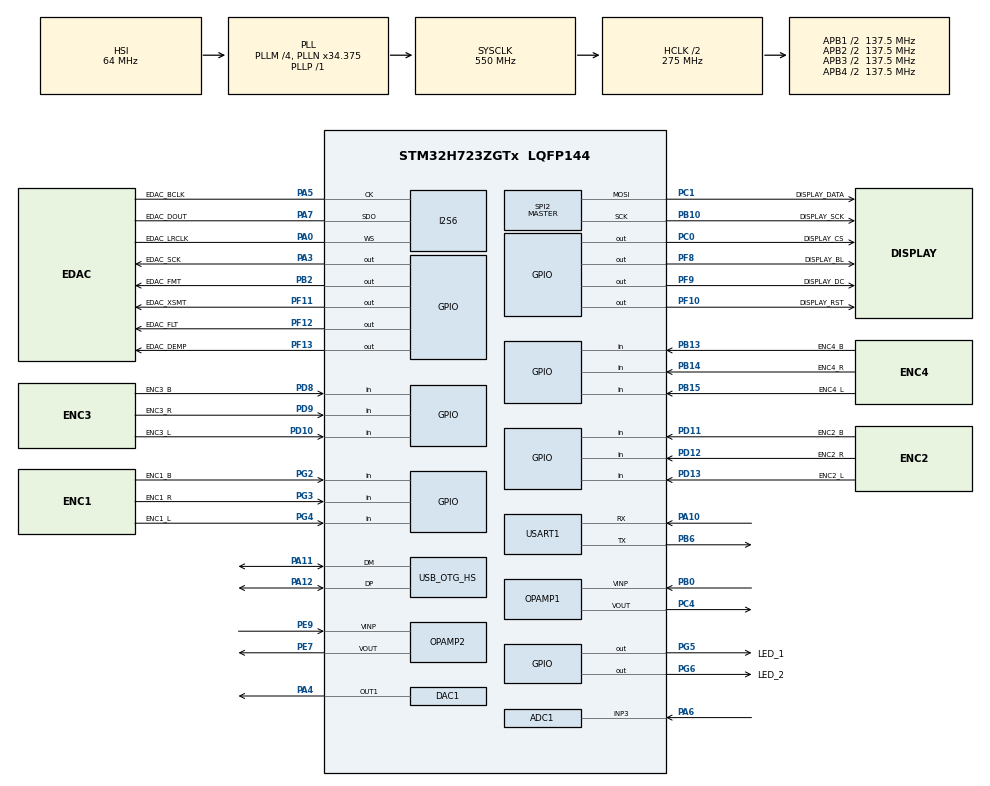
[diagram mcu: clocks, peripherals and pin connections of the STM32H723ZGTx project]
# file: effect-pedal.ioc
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ADC1.Channel-2\#ChannelRegularConversion=ADC_CHANNEL_3
ADC1.Channel-3\#ChannelRegularConversion=ADC_CHANNEL_4
ADC1.ClockPrescaler=ADC_CLOCK_ASYNC_DIV1
ADC1.ConversionDataManagement=ADC_CONVERSIONDATA_DMA_CIRCULAR
ADC1.EOCSelection=ADC_EOC_SEQ_CONV
ADC1.EnableAnalogWatchDog1=false
ADC1.ExternalTrigConv=ADC_EXTERNALTRIG_T2_TRGO
ADC1.LeftBitShift=ADC_LEFTBITSHIFT_NONE
ADC1.NbrOfConversion=2
ADC1.NbrOfConversionFlag=1
ADC1.OffsetNumber-2\#ChannelRegularConversion=ADC_OFFSET_NONE
ADC1.OffsetNumber-3\#ChannelRegularConversion=ADC_OFFSET_NONE
ADC1.OffsetSignedSaturation-2\#ChannelRegularConversion=DISABLE
ADC1.OffsetSignedSaturation-3\#ChannelRegularConversion=DISABLE
ADC1.Overrun=ADC_OVR_DATA_PRESERVED
ADC1.OversamplingMode=ENABLE
ADC1.OversamplingStopReset=ADC_REGOVERSAMPLING_CONTINUED_MODE
ADC1.Rank-2\#ChannelRegularConversion=1
ADC1.Rank-3\#ChannelRegularConversion=2
ADC1.Ratio=16
ADC1.Resolution=ADC_RESOLUTION_16B
ADC1.RightBitShift=ADC_RIGHTBITSHIFT_4
ADC1.SamplingTime-2\#ChannelRegularConversion=ADC_SAMPLETIME_2CYCLES_5
ADC1.SamplingTime-3\#ChannelRegularConversion=ADC_SAMPLETIME_2CYCLES_5
ADC1.master=1
Bdma.Request0=SPI6_TX
Bdma.RequestsNb=1
Bdma.SPI6_TX.0.Direction=DMA_MEMORY_TO_PERIPH
Bdma.SPI6_TX.0.EventEnable=DISABLE
Bdma.SPI6_TX.0.Instance=BDMA_Channel0
Bdma.SPI6_TX.0.MemDataAlignment=DMA_MDATAALIGN_HALFWORD
Bdma.SPI6_TX.0.MemInc=DMA_MINC_ENABLE
Bdma.SPI6_TX.0.Mode=DMA_CIRCULAR
Bdma.SPI6_TX.0.PeriphDataAlignment=DMA_PDATAALIGN_HALFWORD
Bdma.SPI6_TX.0.PeriphInc=DMA_PINC_DISABLE
Bdma.SPI6_TX.0.Polarity=HAL_DMAMUX_REQ_GEN_RISING
Bdma.SPI6_TX.0.Priority=DMA_PRIORITY_VERY_HIGH
Bdma.SPI6_TX.0.RequestNumber=1
Bdma.SPI6_TX.0.SignalID=NONE
Bdma.SPI6_TX.0.SyncEnable=DISABLE
Bdma.SPI6_TX.0.SyncPolarity=HAL_DMAMUX_SYNC_NO_EVENT
Bdma.SPI6_TX.0.SyncRequestNumber=1
Bdma.SPI6_TX.0.SyncSignalID=NONE
CORTEX_M7.default_mode_Activation=1
DAC1.DAC_Channel-DAC_OUT1=DAC_CHANNEL_1
DAC1.DAC_Trigger-DAC_OUT1=DAC_TRIGGER_T2_TRGO
Dma.ADC1.0.Direction=DMA_PERIPH_TO_MEMORY
Dma.ADC1.0.EventEnable=DISABLE
Dma.ADC1.0.FIFOMode=DMA_FIFOMODE_DISABLE
Dma.ADC1.0.Instance=DMA1_Stream0
Dma.ADC1.0.MemDataAlignment=DMA_MDATAALIGN_WORD
Dma.ADC1.0.MemInc=DMA_MINC_ENABLE
Dma.ADC1.0.Mode=DMA_CIRCULAR
Dma.ADC1.0.PeriphDataAlignment=DMA_PDATAALIGN_WORD
Dma.ADC1.0.PeriphInc=DMA_PINC_DISABLE
Dma.ADC1.0.Polarity=HAL_DMAMUX_REQ_GEN_RISING
Dma.ADC1.0.Priority=DMA_PRIORITY_HIGH
Dma.ADC1.0.RequestNumber=1
Dma.ADC1.0.SignalID=NONE
Dma.ADC1.0.SyncEnable=DISABLE
Dma.ADC1.0.SyncPolarity=HAL_DMAMUX_SYNC_NO_EVENT
Dma.ADC1.0.SyncRequestNumber=1
Dma.ADC1.0.SyncSignalID=NONE
Dma.Request0=ADC1
Dma.Request1=SPI2_TX
Dma.SPI2_TX.1.Direction=DMA_MEMORY_TO_PERIPH
Dma.SPI2_TX.1.EventEnable=DISABLE
Dma.SPI2_TX.1.FIFOMode=DMA_FIFOMODE_DISABLE
Dma.SPI2_TX.1.Instance=DMA1_Stream2
Dma.SPI2_TX.1.MemDataAlignment=DMA_MDATAALIGN_HALFWORD
Dma.SPI2_TX.1.MemInc=DMA_MINC_ENABLE
Dma.SPI2_TX.1.Mode=DMA_NORMAL
Dma.SPI2_TX.1.PeriphDataAlignment=DMA_PDATAALIGN_HALFWORD
Dma.SPI2_TX.1.PeriphInc=DMA_PINC_DISABLE
Dma.SPI2_TX.1.Polarity=HAL_DMAMUX_REQ_GEN_RISING
Dma.SPI2_TX.1.Priority=DMA_PRIORITY_MEDIUM
Dma.SPI2_TX.1.RequestNumber=1
Dma.SPI2_TX.1.SignalID=NONE
Dma.SPI2_TX.1.SyncEnable=DISABLE
Dma.SPI2_TX.1.SyncPolarity=HAL_DMAMUX_SYNC_NO_EVENT
Dma.SPI2_TX.1.SyncRequestNumber=1
Dma.SPI2_TX.1.SyncSignalID=NONE
I2S6.AudioFreq=I2S_AUDIOFREQ_48K
I2S6.ErrorAudioFreq=-0.53 %
I2S6.Instance=SPI$Index
I2S6.RealAudioFreq=47.743 KHz
Mcu.Family=STM32H7
Mcu.Name=STM32H723ZGTx
Mcu.Package=LQFP144
NVIC.BDMA_Channel0_IRQn=true\:0\:0\:false\:false\:true\:false\:true\:true
NVIC.DMA1_Stream0_IRQn=true\:0\:0\:false\:false\:true\:false\:true\:true
NVIC.DMA1_Stream2_IRQn=true\:0\:0\:false\:false\:true\:false\:true\:true
NVIC.OTG_HS_IRQn=true\:0\:0\:false\:false\:true\:false\:true\:true
NVIC.PriorityGroup=NVIC_PRIORITYGROUP_4
NVIC.SPI2_IRQn=true\:0\:0\:false\:false\:true\:false\:true\:true
NVIC.TIM1_UP_IRQn=true\:0\:0\:false\:false\:true\:true\:true\:true
NVIC.TIM3_IRQn=true\:0\:0\:false\:false\:true\:true\:true\:true
NVIC.TIM4_IRQn=true\:0\:0\:false\:false\:true\:true\:true\:true
OPAMP1.PowerMode=OPAMP_POWERMODE_HIGHSPEED
OPAMP2.PowerMode=OPAMP_POWERMODE_HIGHSPEED
PA0.GPIO_Label=EDAC_LRCLK
PA0.Mode=Half_Duplex_Master_Tx
PA0.Signal=I2S6_WS
PA10.Mode=Asynchronous
PA10.Signal=USART1_RX
PA11.Mode=Device_Only_FS
PA11.Signal=USB_OTG_HS_DM
PA12.Mode=Device_Only_FS
PA12.Signal=USB_OTG_HS_DP
PA13(JTMS/SWDIO).Mode=Trace_Asynchronous_SW
PA13(JTMS/SWDIO).Signal=DEBUG_JTMS-SWDIO
PA14(JTCK/SWCLK).Mode=Trace_Asynchronous_SW
PA14(JTCK/SWCLK).Signal=DEBUG_JTCK-SWCLK
PA3.GPIO_Label=EDAC_SCK
PA3.GPIO_PuPd=GPIO_PULLDOWN
PA3.Signal=GPIO_Output
PA4.Signal=COMP_DAC11_group
PA5.GPIO_Label=EDAC_BCLK
PA5.Mode=Half_Duplex_Master_Tx
PA5.Signal=I2S6_CK
PA6.Signal=ADCx_INP3
PA7.GPIO_Label=EDAC_DOUT
PA7.Mode=Half_Duplex_Master_Tx
PA7.Signal=I2S6_SDO
PB0.Mode=Follower
PB0.Signal=OPAMP1_VINP
PB10.GPIO_Label=DISPLAY_SCK
PB10.GPIO_PuPd=GPIO_PULLDOWN
PB10.GPIO_Speed=GPIO_SPEED_FREQ_VERY_HIGH
PB10.Mode=TX_Only_Simplex_Unidirect_Master
PB10.Signal=SPI2_SCK
PB13.GPIO_Label=ENC4_B
PB13.GPIO_PuPd=GPIO_PULLUP
PB13.Signal=GPIO_Input
PB14.GPIO_Label=ENC4_R
PB14.GPIO_PuPd=GPIO_PULLUP
PB14.Signal=GPIO_Input
PB15.GPIO_Label=ENC4_L
PB15.GPIO_PuPd=GPIO_PULLUP
PB15.Signal=GPIO_Input
PB2.GPIO_Label=EDAC_FMT
PB2.Signal=GPIO_Output
PB3(JTDO/TRACESWO).Mode=Trace_Asynchronous_SW
PB3(JTDO/TRACESWO).Signal=DEBUG_JTDO-SWO
PB6.Mode=Asynchronous
PB6.Signal=USART1_TX
PC0.GPIO_Label=DISPLAY_CS
PC0.GPIO_Speed=GPIO_SPEED_FREQ_VERY_HIGH
PC0.PinState=GPIO_PIN_SET
PC0.Signal=GPIO_Output
PC1.GPIO_Label=DISPLAY_DATA
PC1.GPIO_PuPd=GPIO_PULLUP
PC1.GPIO_Speed=GPIO_SPEED_FREQ_VERY_HIGH
PC1.Mode=TX_Only_Simplex_Unidirect_Master
PC1.Signal=SPI2_MOSI
PC4.Mode=Follower
PC4.Signal=OPAMP1_VOUT
PD10.GPIO_Label=ENC3_L
PD10.GPIO_PuPd=GPIO_PULLUP
PD10.Signal=GPIO_Input
PD11.GPIO_Label=ENC2_B
PD11.GPIO_PuPd=GPIO_PULLUP
PD11.Signal=GPIO_Input
PD12.GPIO_Label=ENC2_R
PD12.GPIO_PuPd=GPIO_PULLUP
PD12.Signal=GPIO_Input
PD13.GPIO_Label=ENC2_L
PD13.GPIO_PuPd=GPIO_PULLUP
PD13.Signal=GPIO_Input
PD8.GPIO_Label=ENC3_B
PD8.Signal=GPIO_Input
PD9.GPIO_Label=ENC3_R
PD9.GPIO_PuPd=GPIO_PULLUP
PD9.Signal=GPIO_Input
PE7.Mode=Follower
PE7.Signal=OPAMP2_VOUT
PE9.Mode=Follower
PE9.Signal=OPAMP2_VINP
PF10.GPIO_Label=DISPLAY_RST
PF10.GPIO_PuPd=GPIO_PULLUP
PF10.GPIO_Speed=GPIO_SPEED_FREQ_LOW
PF10.PinState=GPIO_PIN_SET
PF10.Signal=GPIO_Output
PF11.GPIO_Label=EDAC_XSMT
PF11.PinState=GPIO_PIN_SET
PF11.Signal=GPIO_Output
PF12.GPIO_Label=EDAC_FLT
PF12.Signal=GPIO_Output
PF13.GPIO_Label=EDAC_DEMP
PF13.Signal=GPIO_Output
PF8.GPIO_Label=DISPLAY_BL
PF8.PinState=GPIO_PIN_SET
PF8.Signal=GPIO_Output
PF9.GPIO_Label=DISPLAY_DC
PF9.GPIO_Speed=GPIO_SPEED_FREQ_VERY_HIGH
PF9.PinState=GPIO_PIN_SET
PF9.Signal=GPIO_Output
PG2.GPIO_Label=ENC1_B
PG2.GPIO_PuPd=GPIO_PULLUP
PG2.Signal=GPIO_Input
PG3.GPIO_Label=ENC1_R
PG3.GPIO_PuPd=GPIO_PULLUP
PG3.Signal=GPIO_Input
PG4.GPIO_Label=ENC1_L
PG4.GPIO_PuPd=GPIO_PULLUP
PG4.Signal=GPIO_Input
PG5.GPIO_Label=LED_1
PG5.Signal=GPIO_Output
PG6.GPIO_Label=LED_2
PG6.Signal=GPIO_Output
PH0-OSC_IN.Signal=RCC_OSC_IN
PH1-OSC_OUT.Signal=RCC_OSC_OUT
ProjectManager.HeapSize=0x200
ProjectManager.StackSize=0x400
ProjectManager.TargetToolchain=STM32CubeIDE
RCC.ADCFreq_Value=96000000
RCC.APB1Freq_Value=137500000
RCC.APB2Freq_Value=137500000
RCC.APB3Freq_Value=137500000
RCC.APB4Freq_Value=137500000
RCC.CortexFreq_Value=550000000
RCC.D1PPRE=RCC_APB3_DIV2
RCC.D2PPRE1=RCC_APB1_DIV2
RCC.D2PPRE2=RCC_APB2_DIV2
RCC.D3PPRE=RCC_APB4_DIV2
RCC.DIVM1=4
RCC.DIVM2=4
RCC.DIVN1=34
RCC.DIVN2=12
RCC.DIVP1=1
RCC.DIVQ1=3
RCC.HCLKFreq_Value=275000000
RCC.HPRE=RCC_HCLK_DIV2
RCC.PLL2FRACN=0
RCC.PLL3FRACN=0
RCC.PLLFRACN=3072
RCC.PLLSourceVirtual=RCC_PLLSOURCE_HSI
RCC.SYSCLKFreq_VALUE=550000000
RCC.SYSCLKSource=RCC_SYSCLKSOURCE_PLLCLK
RCC.USBCLockSelection=RCC_USBCLKSOURCE_HSI48
RCC.USBFreq_Value=48000000
SH.ADCx_INP3.0=ADC1_INP3,IN3-Single-Ended
SH.COMP_DAC11_group.0=DAC1_OUT1,DAC_OUT1
SPI2.BaudRatePrescaler=SPI_BAUDRATEPRESCALER_16
SPI2.CalculateBaudRate=11.458333 MBits/s
SPI2.DataSize=SPI_DATASIZE_8BIT
SPI2.Direction=SPI_DIRECTION_2LINES_TXONLY
SPI2.Mode=SPI_MODE_MASTER
SPI2.NSSPMode=SPI_NSS_PULSE_DISABLE
SPI2.VirtualType=VM_MASTER
STMicroelectronics.X-CUBE-ALGOBUILD.1.4.0.LibraryCcDSPOoLibraryJjDSPOoLibrary=true
TIM1.Period=6876
TIM1.TIM_MasterOutputTrigger=TIM_TRGO_UPDATE
TIM1.TIM_MasterOutputTrigger2=TIM_TRGO2_UPDATE
TIM2.AutoReloadPreload=TIM_AUTORELOAD_PRELOAD_ENABLE
TIM2.Period=5728
TIM2.Prescaler=0
TIM2.TIM_MasterOutputTrigger=TIM_TRGO_UPDATE
TIM3.Period=9156
TIM3.Prescaler=9999
TIM4.AutoReloadPreload=TIM_AUTORELOAD_PRELOAD_ENABLE
TIM4.Period=5000
TIM4.Prescaler=1
TIM4.TIM_MasterOutputTrigger=TIM_TRGO_RESET
USART1.VirtualMode-Asynchronous=VM_ASYNC
USB_DEVICE.CLASS_NAME_HS=DFU
USB_DEVICE.VirtualMode=Dfu
USB_DEVICE.VirtualModeHS=Dfu_HS
USB_OTG_HS.VirtualMode-Device_Only_FS=Device_Only_FS
VP_ADC1_OPAMP1_OUT.Mode=IN4-OPAMP1-Single-Ended
VP_MEMORYMAP_VS_MEMORYMAP.Mode=CurAppReg
VP_STMicroelectronics.X-CUBE-ALGOBUILD_VS_DSPOoLibraryJjLibrary_1.4.0_1.4.0.Mode=DSPOoLibraryJjLibrary
VP_TIM1_VS_ClockSourceINT.Mode=Internal
VP_TIM2_VS_ClockSourceINT.Mode=Internal
VP_TIM3_VS_ClockSourceINT.Mode=Internal
VP_TIM4_VS_ClockSourceINT.Mode=Internal
VP_USB_DEVICE_VS_USB_DEVICE_DFU_HS.Mode=DFU_HS
VREF+.Mode=InternalMode
VREF+.Signal=VREFBUF_OUT
VREFBUF.VoltageScaling=SYSCFG_VREFBUF_VOLTAGE_SCALE0
board=custom

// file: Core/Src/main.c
/* USER CODE BEGIN Header */
/**
 ******************************************************************************
 * @file           : main.c
 * @brief          : Main program body
 ******************************************************************************
 * @attention
 *
 * Copyright (c) 2026 STMicroelectronics.
 * All rights reserved.
 *
 * This software is licensed under terms that can be found in the LICENSE file
 * in the root directory of this software component.
 * If no LICENSE file comes with this software, it is provided AS-IS.
 *
 ******************************************************************************
 */
/* USER CODE END Header */
#include "main.h"
#include "usb_device.h"

/* USER CODE BEGIN Includes */
#include "lvgl/lvgl.h"
#include "encoders.h"
#include "screen.h"
/* USER CODE END Includes */

/* USER CODE BEGIN PD */
#define LCD_H_RES       240
#define LCD_V_RES       320
#define BUS_SPI2_POLL_TIMEOUT HAL_MAX_DELAY
#define LCD_BUF_SIZE    LCD_H_RES * LCD_V_RES / 10

// Delay settings
#define SAMPLE_RATE 48000
#define DELAY_MS   300
#define DELAY_SAMPLES ((SAMPLE_RATE * DELAY_MS) / 1000)
#define MAX_DELAY 75000   // 1 sec
/* USER CODE END PD */

ADC_HandleTypeDef hadc1;
DMA_HandleTypeDef hdma_adc1;

DAC_HandleTypeDef hdac1;

I2S_HandleTypeDef hi2s6;
DMA_HandleTypeDef hdma_spi6_tx;

OPAMP_HandleTypeDef hopamp1;
OPAMP_HandleTypeDef hopamp2;

SPI_HandleTypeDef hspi2;
DMA_HandleTypeDef hdma_spi2_tx;

TIM_HandleTypeDef htim1;
TIM_HandleTypeDef htim2;
TIM_HandleTypeDef htim3;
TIM_HandleTypeDef htim4;

UART_HandleTypeDef huart1;

/* USER CODE BEGIN PV */
uint32_t adc_buf[4];
BDMA_BUFFER uint16_t dac_buf[4];

lv_color_t lcd_buf1[LCD_BUF_SIZE];
lv_color_t lcd_buf2[LCD_BUF_SIZE];

lv_display_t *lcd_disp;
lv_obj_t *label;
lv_obj_t *label_vals;
volatile int lcd_bus_busy = 0;
uint8_t text_needs_update = 0;
uint8_t fft_needs_update = 0;
// double vol_mod = 0.0;

int16_t delay_buffer[MAX_DELAY];
uint32_t delay_index = 0;

int32_t feedback = 16000;   // 0.5 in Q15
int32_t mix      = 16000;   // 0.5 in Q15
int32_t delay    = 48000;
float gain = 0.0;
float ngain = 0.0;
/* USER CODE END PV */

void SystemClock_Config(void);
static void MPU_Config(void);
static void MX_GPIO_Init(void);
static void MX_DMA_Init(void);
static void MX_BDMA_Init(void);
static void MX_ADC1_Init(void);
static void MX_TIM2_Init(void);
static void MX_DAC1_Init(void);
static void MX_OPAMP2_Init(void);
static void MX_SPI2_Init(void);
static void MX_OPAMP1_Init(void);
static void MX_TIM3_Init(void);
static void MX_TIM4_Init(void);
static void MX_I2S6_Init(void);
static void MX_USART1_UART_Init(void);
static void MX_TIM1_Init(void);

/* USER CODE BEGIN 0 */
int32_t clamp(int32_t a, int32_t b, int32_t c) {
	if (a > c)
		return c;
	if (a < b)
		return b;
	return a;
}

void update_parameters() {
	ngain = 0.2 * get_encoders()[0].spin_buf + 0.0;
	gain = pow(10, ngain / 10);
	if (get_encoders()[0].pressed)
		get_encoders()[0].spin_buf = 0;
	mix = get_encoders()[1].spin_buf * 32767 / 30 + 32767;
	mix = clamp(mix, 0, 32767);
	if (get_encoders()[1].pressed)
		get_encoders()[1].spin_buf = 0;
	delay = get_encoders()[2].spin_buf * 48000 / 30 + 48000;
	delay = clamp(delay, 0, MAX_DELAY);
	if (get_encoders()[2].pressed_time > 1000)
		get_encoders()[2].spin_buf = 0;
	feedback = get_encoders()[3].spin_buf * 32767 / 30 + 32767 / 2;
	feedback = clamp(feedback, 0, 32767);
	if (get_encoders()[3].pressed)
		get_encoders()[3].spin_buf = 0;
}

static inline int16_t q15_mul(int16_t a, int16_t b)
{
    return (int16_t)(((int32_t)a * b) >> 15);
}

int32_t process_audio_delay(int32_t input) {

	    // Read delayed sample
	    int32_t delayed = delay_buffer[delay_index];

	    // Compute new sample to store (input + feedback * delayed)
	    int32_t fb = q15_mul(delayed, feedback);
	    int32_t write_sample = input + fb;

	    delay_buffer[delay_index] = (int16_t)write_sample;

	    // Increment circular index
	    delay_index++;
	    if (delay_index >= delay)
	        delay_index = 0;

	    // Mix dry + wet
	    int32_t wet  = delayed;
	    int32_t dry  = input;

	    int32_t wet_scaled = q15_mul(wet, mix);
	    int32_t dry_scaled = q15_mul(dry, (32767 - mix));

	    int32_t output = wet_scaled + dry_scaled;

	    output *= gain;

	    return output;

}

uint16_t process_audio(uint32_t in) {
	uint32_t mid = 0xffff >> 1;
	int32_t diff = in - mid;
	// diff *= vol_mod;
	diff = process_audio_delay(diff);
	uint16_t res = diff + mid;
	res ^= (1 << 15);
	return res;
}

void HAL_ADC_ConvHalfCpltCallback(ADC_HandleTypeDef *hadc) {

	dac_buf[0] = process_audio(adc_buf[0]);
	dac_buf[1] = process_audio(adc_buf[1]);
	HAL_I2S_Transmit_DMA(&hi2s6, dac_buf, 2);
}

void HAL_ADC_ConvCpltCallback(ADC_HandleTypeDef *hadc) {

	dac_buf[2] = process_audio(adc_buf[2]);
	dac_buf[3] = process_audio(adc_buf[2]);
	HAL_I2S_Transmit_DMA(&hi2s6, dac_buf + 2, 2);
}

void lcd_color_transfer_ready_cb(SPI_HandleTypeDef *hspi) {
	/* CS high */
	HAL_GPIO_WritePin(DISPLAY_CS_GPIO_Port, DISPLAY_CS_Pin, GPIO_PIN_SET);
	lcd_bus_busy = 0;
	lv_display_flush_ready(lcd_disp);
}

/* Initialize LCD I/O bus, reset LCD */
static int32_t lcd_io_init(void) {
	/* Register SPI Tx Complete Callback */
	HAL_SPI_RegisterCallback(&hspi2, HAL_SPI_TX_COMPLETE_CB_ID,
			lcd_color_transfer_ready_cb);

	/* reset LCD */
	HAL_GPIO_WritePin(DISPLAY_RST_GPIO_Port, DISPLAY_RST_Pin, GPIO_PIN_RESET);
	HAL_Delay(100);
	HAL_GPIO_WritePin(DISPLAY_RST_GPIO_Port, DISPLAY_RST_Pin, GPIO_PIN_SET);
	HAL_Delay(100);

	HAL_GPIO_WritePin(DISPLAY_CS_GPIO_Port, DISPLAY_CS_Pin, GPIO_PIN_SET);
	HAL_GPIO_WritePin(DISPLAY_DC_GPIO_Port, DISPLAY_DC_Pin, GPIO_PIN_SET);

	return HAL_OK;
}

/* Platform-specific implementation of the LCD send command function. In general this should use polling transfer. */
static void lcd_send_cmd(lv_display_t *disp, const uint8_t *cmd,
		size_t cmd_size, const uint8_t *param, size_t param_size) {
	LV_UNUSED(disp);
	while (lcd_bus_busy)
		; /* wait until previous transfer is finished */
	/* Set the SPI in 8-bit mode */
	hspi2.Init.DataSize = SPI_DATASIZE_8BIT;
	HAL_SPI_Init(&hspi2);
	/* DCX low (command) */
	HAL_GPIO_WritePin(DISPLAY_DC_GPIO_Port, DISPLAY_DC_Pin, GPIO_PIN_RESET);
	/* CS low */
	HAL_GPIO_WritePin(DISPLAY_CS_GPIO_Port, DISPLAY_CS_Pin, GPIO_PIN_RESET);
	/* send command */
	if (HAL_SPI_Transmit(&hspi2, cmd, cmd_size, BUS_SPI2_POLL_TIMEOUT)
			== HAL_OK) {
		/* DCX high (data) */
		HAL_GPIO_WritePin(DISPLAY_DC_GPIO_Port, DISPLAY_DC_Pin, GPIO_PIN_SET);
		/* for short data blocks we use polling transfer */
		HAL_SPI_Transmit(&hspi2, (uint8_t*) param, (uint16_t) param_size,
				BUS_SPI2_POLL_TIMEOUT);
		/* CS high */
		HAL_GPIO_WritePin(DISPLAY_CS_GPIO_Port, DISPLAY_CS_Pin, GPIO_PIN_SET);
	}
}

/* Platform-specific implementation of the LCD send color function. For better performance this should use DMA transfer.
 * In case of a DMA transfer a callback must be installed to notify LVGL about the end of the transfer.
 */
static void lcd_send_color(lv_display_t *disp, const uint8_t *cmd,
		size_t cmd_size, uint8_t *param, size_t param_size) {
	LV_UNUSED(disp);
	while (lcd_bus_busy)
		; /* wait until previous transfer is finished */
	/* Set the SPI in 8-bit mode */
	hspi2.Init.DataSize = SPI_DATASIZE_8BIT;
	HAL_SPI_Init(&hspi2);
	/* DCX low (command) */
	HAL_GPIO_WritePin(DISPLAY_DC_GPIO_Port, DISPLAY_DC_Pin, GPIO_PIN_RESET);
	/* CS low */
	HAL_GPIO_WritePin(DISPLAY_CS_GPIO_Port, DISPLAY_CS_Pin, GPIO_PIN_RESET);
	/* send command */
	if (HAL_SPI_Transmit(&hspi2, cmd, cmd_size, BUS_SPI2_POLL_TIMEOUT)
			== HAL_OK) {
		/* DCX high (data) */
		HAL_GPIO_WritePin(DISPLAY_DC_GPIO_Port, DISPLAY_DC_Pin, GPIO_PIN_SET);
		/* for color data use DMA transfer */
		/* Set the SPI in 16-bit mode to match endianness */
		hspi2.Init.DataSize = SPI_DATASIZE_16BIT;
		HAL_SPI_Init(&hspi2);
		lcd_bus_busy = 1;
		HAL_SPI_Transmit_DMA(&hspi2, param, (uint16_t) param_size / 2);
		/* NOTE: CS will be reset in the transfer ready callback */
	}
}

void update_text() {
	text_needs_update = 1;
}

void update_fft() {
	fft_needs_update = 1;
}
/* USER CODE END 0 */

int main(void)
{

  /* MPU Configuration--------------------------------------------------------*/
  MPU_Config();

  /* MCU Configuration--------------------------------------------------------*/

  /* Reset of all peripherals, Initializes the Flash interface and the Systick. */
  HAL_Init();

  /* Configure the system clock */
  SystemClock_Config();

  /* Initialize all configured peripherals */
  MX_GPIO_Init();
  MX_DMA_Init();
  MX_BDMA_Init();
  MX_ADC1_Init();
  MX_TIM2_Init();
  MX_DAC1_Init();
  MX_OPAMP2_Init();
  MX_SPI2_Init();
  MX_OPAMP1_Init();
  MX_TIM3_Init();
  MX_TIM4_Init();
  MX_I2S6_Init();
  MX_USART1_UART_Init();
  MX_USB_DEVICE_Init();
  MX_TIM1_Init();
  /* USER CODE BEGIN 2 */
	HAL_OPAMP_SelfCalibrate(&hopamp1);
	HAL_OPAMP_SelfCalibrate(&hopamp2);
	HAL_OPAMP_Start(&hopamp1);
	HAL_OPAMP_Start(&hopamp2);
	//HAL_OPAMP_SelfCalibrate(&hopamp1);
	//HAL_OPAMP_SelfCalibrate(&hopamp2);
	HAL_TIM_Base_Start_IT(&htim2);
	HAL_DAC_Start(&hdac1, DAC_CHANNEL_1);
	HAL_ADCEx_Calibration_Start(&hadc1, ADC_CALIB_OFFSET_LINEARITY,
			ADC_SINGLE_ENDED);
	HAL_ADC_Start_DMA(&hadc1, adc_buf, 4);

	init_encoders();
	HAL_TIM_Base_Start_IT(&htim4);

	lv_init();
	lcd_io_init();
	lv_tick_set_cb(HAL_GetTick);

	lcd_disp = lv_ili9341_create(LCD_H_RES, LCD_V_RES, LV_LCD_FLAG_NONE,
			lcd_send_cmd, lcd_send_color);
	lv_display_set_rotation(lcd_disp, LV_DISPLAY_ROTATION_270);
	lv_display_set_buffers(lcd_disp, lcd_buf1, lcd_buf2, LCD_BUF_SIZE,
			LV_DISPLAY_RENDER_MODE_PARTIAL);

	//ui_init(lcd_disp);
	lv_obj_set_style_bg_color(lv_screen_active(), lv_color_hex(0x003a57),
			LV_PART_MAIN);

	Screen_Init();

	label = lv_label_create(lv_screen_active());
	lv_obj_set_style_text_font(label, &lv_font_montserrat_14, 0);
	lv_obj_set_style_text_color(lv_screen_active(), lv_color_hex(0xffffff),
			LV_PART_MAIN);
	lv_label_set_text(label, "GAIN:\nW/D:\nDELAY:\nFDBK:");
	lv_obj_align(label, LV_ALIGN_CENTER, 50, -70);

	label_vals = lv_label_create(lv_screen_active());
	lv_obj_set_style_text_font(label_vals, &lv_font_montserrat_14, 0);
	lv_label_set_text(label_vals, "");
	lv_obj_align(label_vals, LV_ALIGN_CENTER, 115, -70);

	HAL_TIM_Base_Start_IT(&htim1);
	HAL_TIM_Base_Start_IT(&htim3);
  /* USER CODE END 2 */

  /* Infinite loop */
  /* USER CODE BEGIN WHILE */
	while (1) {
		if (fft_needs_update) {
			fft_needs_update = 0;
		}
		if (text_needs_update) {
			Compute_FFT();
			Screen_Update();
			lv_label_set_text_fmt(
					label_vals,
					"%.2f dB\n%.0f%%\n%li ms\n%.0f%%",
					ngain,
					(float) mix / 32767 * 100,
					delay / 48,
					(float) feedback / 32767 * 100);
			text_needs_update = 0;
		}

		lv_timer_handler();
    /* USER CODE END WHILE */

	}
}

void SystemClock_Config(void)
{
  RCC_OscInitTypeDef RCC_OscInitStruct = {0};
  RCC_ClkInitTypeDef RCC_ClkInitStruct = {0};

  /** Supply configuration update enable
  */
  HAL_PWREx_ConfigSupply(PWR_LDO_SUPPLY);

  /** Configure the main internal regulator output voltage
  */
  __HAL_PWR_VOLTAGESCALING_CONFIG(PWR_REGULATOR_VOLTAGE_SCALE0);

  while(!__HAL_PWR_GET_FLAG(PWR_FLAG_VOSRDY)) {}

  /** Initializes the RCC Oscillators according to the specified parameters
  * in the RCC_OscInitTypeDef structure.
  */
  RCC_OscInitStruct.OscillatorType = RCC_OSCILLATORTYPE_HSI48|RCC_OSCILLATORTYPE_HSI;
  RCC_OscInitStruct.HSIState = RCC_HSI_DIV1;
  RCC_OscInitStruct.HSICalibrationValue = 64;
  RCC_OscInitStruct.HSI48State = RCC_HSI48_ON;
  RCC_OscInitStruct.PLL.PLLState = RCC_PLL_ON;
  RCC_OscInitStruct.PLL.PLLSource = RCC_PLLSOURCE_HSI;
  RCC_OscInitStruct.PLL.PLLM = 4;
  RCC_OscInitStruct.PLL.PLLN = 34;
  RCC_OscInitStruct.PLL.PLLP = 1;
  RCC_OscInitStruct.PLL.PLLQ = 3;
  RCC_OscInitStruct.PLL.PLLR = 2;
  RCC_OscInitStruct.PLL.PLLRGE = RCC_PLL1VCIRANGE_3;
  RCC_OscInitStruct.PLL.PLLVCOSEL = RCC_PLL1VCOWIDE;
  RCC_OscInitStruct.PLL.PLLFRACN = 3072;
  if (HAL_RCC_OscConfig(&RCC_OscInitStruct) != HAL_OK)
  {
    Error_Handler();
  }

  /** Initializes the CPU, AHB and APB buses clocks
  */
  RCC_ClkInitStruct.ClockType = RCC_CLOCKTYPE_HCLK|RCC_CLOCKTYPE_SYSCLK
                              |RCC_CLOCKTYPE_PCLK1|RCC_CLOCKTYPE_PCLK2
                              |RCC_CLOCKTYPE_D3PCLK1|RCC_CLOCKTYPE_D1PCLK1;
  RCC_ClkInitStruct.SYSCLKSource = RCC_SYSCLKSOURCE_PLLCLK;
  RCC_ClkInitStruct.SYSCLKDivider = RCC_SYSCLK_DIV1;
  RCC_ClkInitStruct.AHBCLKDivider = RCC_HCLK_DIV2;
  RCC_ClkInitStruct.APB3CLKDivider = RCC_APB3_DIV2;
  RCC_ClkInitStruct.APB1CLKDivider = RCC_APB1_DIV2;
  RCC_ClkInitStruct.APB2CLKDivider = RCC_APB2_DIV2;
  RCC_ClkInitStruct.APB4CLKDivider = RCC_APB4_DIV2;

  if (HAL_RCC_ClockConfig(&RCC_ClkInitStruct, FLASH_LATENCY_3) != HAL_OK)
  {
    Error_Handler();
  }
}

static void MX_ADC1_Init(void)
{

  ADC_MultiModeTypeDef multimode = {0};
  ADC_ChannelConfTypeDef sConfig = {0};

  /** Common config
  */
  hadc1.Instance = ADC1;
  hadc1.Init.ClockPrescaler = ADC_CLOCK_ASYNC_DIV1;
  hadc1.Init.Resolution = ADC_RESOLUTION_16B;
  hadc1.Init.ScanConvMode = ADC_SCAN_ENABLE;
  hadc1.Init.EOCSelection = ADC_EOC_SEQ_CONV;
  hadc1.Init.LowPowerAutoWait = DISABLE;
  hadc1.Init.ContinuousConvMode = DISABLE;
  hadc1.Init.NbrOfConversion = 2;
  hadc1.Init.DiscontinuousConvMode = DISABLE;
  hadc1.Init.ExternalTrigConv = ADC_EXTERNALTRIG_T2_TRGO;
  hadc1.Init.ExternalTrigConvEdge = ADC_EXTERNALTRIGCONVEDGE_RISING;
  hadc1.Init.ConversionDataManagement = ADC_CONVERSIONDATA_DMA_CIRCULAR;
  hadc1.Init.Overrun = ADC_OVR_DATA_PRESERVED;
  hadc1.Init.LeftBitShift = ADC_LEFTBITSHIFT_NONE;
  hadc1.Init.OversamplingMode = ENABLE;
  hadc1.Init.Oversampling.Ratio = 16;
  hadc1.Init.Oversampling.RightBitShift = ADC_RIGHTBITSHIFT_4;
  hadc1.Init.Oversampling.TriggeredMode = ADC_TRIGGEREDMODE_SINGLE_TRIGGER;
  hadc1.Init.Oversampling.OversamplingStopReset = ADC_REGOVERSAMPLING_CONTINUED_MODE;
  if (HAL_ADC_Init(&hadc1) != HAL_OK)
  {
    Error_Handler();
  }

  /** Configure the ADC multi-mode
  */
  multimode.Mode = ADC_MODE_INDEPENDENT;
  if (HAL_ADCEx_MultiModeConfigChannel(&hadc1, &multimode) != HAL_OK)
  {
    Error_Handler();
  }

  /** Configure Regular Channel
  */
  sConfig.Channel = ADC_CHANNEL_3;
  sConfig.Rank = ADC_REGULAR_RANK_1;
  sConfig.SamplingTime = ADC_SAMPLETIME_2CYCLES_5;
  sConfig.SingleDiff = ADC_SINGLE_ENDED;
  sConfig.OffsetNumber = ADC_OFFSET_NONE;
  sConfig.Offset = 0;
  sConfig.OffsetSignedSaturation = DISABLE;
  if (HAL_ADC_ConfigChannel(&hadc1, &sConfig) != HAL_OK)
  {
    Error_Handler();
  }

  /** Configure Regular Channel
  */
  sConfig.Channel = ADC_CHANNEL_4;
  sConfig.Rank = ADC_REGULAR_RANK_2;
  if (HAL_ADC_ConfigChannel(&hadc1, &sConfig) != HAL_OK)
  {
    Error_Handler();
  }

}

static void MX_DAC1_Init(void)
{

  DAC_ChannelConfTypeDef sConfig = {0};

  /** DAC Initialization
  */
  hdac1.Instance = DAC1;
  if (HAL_DAC_Init(&hdac1) != HAL_OK)
  {
    Error_Handler();
  }

  /** DAC channel OUT1 config
  */
  sConfig.DAC_SampleAndHold = DAC_SAMPLEANDHOLD_DISABLE;
  sConfig.DAC_Trigger = DAC_TRIGGER_T2_TRGO;
  sConfig.DAC_OutputBuffer = DAC_OUTPUTBUFFER_ENABLE;
  sConfig.DAC_ConnectOnChipPeripheral = DAC_CHIPCONNECT_DISABLE;
  sConfig.DAC_UserTrimming = DAC_TRIMMING_FACTORY;
  if (HAL_DAC_ConfigChannel(&hdac1, &sConfig, DAC_CHANNEL_1) != HAL_OK)
  {
    Error_Handler();
  }

}

static void MX_I2S6_Init(void)
{

  hi2s6.Instance = SPI6;
  hi2s6.Init.Mode = I2S_MODE_MASTER_TX;
  hi2s6.Init.Standard = I2S_STANDARD_PHILIPS;
  hi2s6.Init.DataFormat = I2S_DATAFORMAT_16B;
  hi2s6.Init.MCLKOutput = I2S_MCLKOUTPUT_DISABLE;
  hi2s6.Init.AudioFreq = I2S_AUDIOFREQ_48K;
  hi2s6.Init.CPOL = I2S_CPOL_LOW;
  hi2s6.Init.FirstBit = I2S_FIRSTBIT_MSB;
  hi2s6.Init.WSInversion = I2S_WS_INVERSION_DISABLE;
  hi2s6.Init.Data24BitAlignment = I2S_DATA_24BIT_ALIGNMENT_RIGHT;
  hi2s6.Init.MasterKeepIOState = I2S_MASTER_KEEP_IO_STATE_DISABLE;
  if (HAL_I2S_Init(&hi2s6) != HAL_OK)
  {
    Error_Handler();
  }

}

static void MX_OPAMP1_Init(void)
{

  hopamp1.Instance = OPAMP1;
  hopamp1.Init.Mode = OPAMP_FOLLOWER_MODE;
  hopamp1.Init.NonInvertingInput = OPAMP_NONINVERTINGINPUT_IO0;
  hopamp1.Init.PowerMode = OPAMP_POWERMODE_HIGHSPEED;
  hopamp1.Init.UserTrimming = OPAMP_TRIMMING_FACTORY;
  if (HAL_OPAMP_Init(&hopamp1) != HAL_OK)
  {
    Error_Handler();
  }

}

static void MX_OPAMP2_Init(void)
{

  hopamp2.Instance = OPAMP2;
  hopamp2.Init.Mode = OPAMP_FOLLOWER_MODE;
  hopamp2.Init.PowerMode = OPAMP_POWERMODE_HIGHSPEED;
  hopamp2.Init.UserTrimming = OPAMP_TRIMMING_FACTORY;
  if (HAL_OPAMP_Init(&hopamp2) != HAL_OK)
  {
    Error_Handler();
  }

}

static void MX_SPI2_Init(void)
{

  /* SPI2 parameter configuration*/
  hspi2.Instance = SPI2;
  hspi2.Init.Mode = SPI_MODE_MASTER;
  hspi2.Init.Direction = SPI_DIRECTION_2LINES_TXONLY;
  hspi2.Init.DataSize = SPI_DATASIZE_8BIT;
  hspi2.Init.CLKPolarity = SPI_POLARITY_LOW;
  hspi2.Init.CLKPhase = SPI_PHASE_1EDGE;
  hspi2.Init.NSS = SPI_NSS_SOFT;
  hspi2.Init.BaudRatePrescaler = SPI_BAUDRATEPRESCALER_16;
  hspi2.Init.FirstBit = SPI_FIRSTBIT_MSB;
  hspi2.Init.TIMode = SPI_TIMODE_DISABLE;
  hspi2.Init.CRCCalculation = SPI_CRCCALCULATION_DISABLE;
  hspi2.Init.CRCPolynomial = 0x0;
  hspi2.Init.NSSPMode = SPI_NSS_PULSE_DISABLE;
  hspi2.Init.NSSPolarity = SPI_NSS_POLARITY_LOW;
  hspi2.Init.FifoThreshold = SPI_FIFO_THRESHOLD_01DATA;
  hspi2.Init.TxCRCInitializationPattern = SPI_CRC_INITIALIZATION_ALL_ZERO_PATTERN;
  hspi2.Init.RxCRCInitializationPattern = SPI_CRC_INITIALIZATION_ALL_ZERO_PATTERN;
  hspi2.Init.MasterSSIdleness = SPI_MASTER_SS_IDLENESS_00CYCLE;
  hspi2.Init.MasterInterDataIdleness = SPI_MASTER_INTERDATA_IDLENESS_00CYCLE;
  hspi2.Init.MasterReceiverAutoSusp = SPI_MASTER_RX_AUTOSUSP_DISABLE;
  hspi2.Init.MasterKeepIOState = SPI_MASTER_KEEP_IO_STATE_DISABLE;
  hspi2.Init.IOSwap = SPI_IO_SWAP_DISABLE;
  if (HAL_SPI_Init(&hspi2) != HAL_OK)
  {
    Error_Handler();
  }

}

static void MX_TIM1_Init(void)
{

  TIM_ClockConfigTypeDef sClockSourceConfig = {0};
  TIM_MasterConfigTypeDef sMasterConfig = {0};

  htim1.Instance = TIM1;
  htim1.Init.Prescaler = 0;
  htim1.Init.CounterMode = TIM_COUNTERMODE_UP;
  htim1.Init.Period = 6876;
  htim1.Init.ClockDivision = TIM_CLOCKDIVISION_DIV1;
  htim1.Init.RepetitionCounter = 0;
  htim1.Init.AutoReloadPreload = TIM_AUTORELOAD_PRELOAD_DISABLE;
  if (HAL_TIM_Base_Init(&htim1) != HAL_OK)
  {
    Error_Handler();
  }
  sClockSourceConfig.ClockSource = TIM_CLOCKSOURCE_INTERNAL;
  if (HAL_TIM_ConfigClockSource(&htim1, &sClockSourceConfig) != HAL_OK)
  {
    Error_Handler();
  }
  sMasterConfig.MasterOutputTrigger = TIM_TRGO_UPDATE;
  sMasterConfig.MasterOutputTrigger2 = TIM_TRGO2_UPDATE;
  sMasterConfig.MasterSlaveMode = TIM_MASTERSLAVEMODE_DISABLE;
  if (HAL_TIMEx_MasterConfigSynchronization(&htim1, &sMasterConfig) != HAL_OK)
  {
    Error_Handler();
  }

}

static void MX_TIM2_Init(void)
{

  TIM_ClockConfigTypeDef sClockSourceConfig = {0};
  TIM_MasterConfigTypeDef sMasterConfig = {0};

  htim2.Instance = TIM2;
  htim2.Init.Prescaler = 0;
  htim2.Init.CounterMode = TIM_COUNTERMODE_UP;
  htim2.Init.Period = 5728;
  htim2.Init.ClockDivision = TIM_CLOCKDIVISION_DIV1;
  htim2.Init.AutoReloadPreload = TIM_AUTORELOAD_PRELOAD_ENABLE;
  if (HAL_TIM_Base_Init(&htim2) != HAL_OK)
  {
    Error_Handler();
  }
  sClockSourceConfig.ClockSource = TIM_CLOCKSOURCE_INTERNAL;
  if (HAL_TIM_ConfigClockSource(&htim2, &sClockSourceConfig) != HAL_OK)
  {
    Error_Handler();
  }
  sMasterConfig.MasterOutputTrigger = TIM_TRGO_UPDATE;
  sMasterConfig.MasterSlaveMode = TIM_MASTERSLAVEMODE_DISABLE;
  if (HAL_TIMEx_MasterConfigSynchronization(&htim2, &sMasterConfig) != HAL_OK)
  {
    Error_Handler();
  }

}

static void MX_TIM3_Init(void)
{

  TIM_ClockConfigTypeDef sClockSourceConfig = {0};
  TIM_MasterConfigTypeDef sMasterConfig = {0};

  htim3.Instance = TIM3;
  htim3.Init.Prescaler = 9999;
  htim3.Init.CounterMode = TIM_COUNTERMODE_UP;
  htim3.Init.Period = 9156;
  htim3.Init.ClockDivision = TIM_CLOCKDIVISION_DIV1;
  htim3.Init.AutoReloadPreload = TIM_AUTORELOAD_PRELOAD_DISABLE;
  if (HAL_TIM_Base_Init(&htim3) != HAL_OK)
  {
    Error_Handler();
  }
  sClockSourceConfig.ClockSource = TIM_CLOCKSOURCE_INTERNAL;
  if (HAL_TIM_ConfigClockSource(&htim3, &sClockSourceConfig) != HAL_OK)
  {
    Error_Handler();
  }
  sMasterConfig.MasterOutputTrigger = TIM_TRGO_RESET;
  sMasterConfig.MasterSlaveMode = TIM_MASTERSLAVEMODE_DISABLE;
  if (HAL_TIMEx_MasterConfigSynchronization(&htim3, &sMasterConfig) != HAL_OK)
  {
    Error_Handler();
  }

}

static void MX_TIM4_Init(void)
{

  TIM_ClockConfigTypeDef sClockSourceConfig = {0};
  TIM_MasterConfigTypeDef sMasterConfig = {0};

  htim4.Instance = TIM4;
  htim4.Init.Prescaler = 1;
  htim4.Init.CounterMode = TIM_COUNTERMODE_UP;
  htim4.Init.Period = 5000;
  htim4.Init.ClockDivision = TIM_CLOCKDIVISION_DIV1;
  htim4.Init.AutoReloadPreload = TIM_AUTORELOAD_PRELOAD_ENABLE;
  if (HAL_TIM_Base_Init(&htim4) != HAL_OK)
  {
    Error_Handler();
  }
  sClockSourceConfig.ClockSource = TIM_CLOCKSOURCE_INTERNAL;
  if (HAL_TIM_ConfigClockSource(&htim4, &sClockSourceConfig) != HAL_OK)
  {
    Error_Handler();
  }
  sMasterConfig.MasterOutputTrigger = TIM_TRGO_RESET;
  sMasterConfig.MasterSlaveMode = TIM_MASTERSLAVEMODE_DISABLE;
  if (HAL_TIMEx_MasterConfigSynchronization(&htim4, &sMasterConfig) != HAL_OK)
  {
    Error_Handler();
  }

}

static void MX_USART1_UART_Init(void)
{

  huart1.Instance = USART1;
  huart1.Init.BaudRate = 115200;
  huart1.Init.WordLength = UART_WORDLENGTH_8B;
  huart1.Init.StopBits = UART_STOPBITS_1;
  huart1.Init.Parity = UART_PARITY_NONE;
  huart1.Init.Mode = UART_MODE_TX_RX;
  huart1.Init.HwFlowCtl = UART_HWCONTROL_NONE;
  huart1.Init.OverSampling = UART_OVERSAMPLING_16;
  huart1.Init.OneBitSampling = UART_ONE_BIT_SAMPLE_DISABLE;
  huart1.Init.ClockPrescaler = UART_PRESCALER_DIV1;
  huart1.AdvancedInit.AdvFeatureInit = UART_ADVFEATURE_NO_INIT;
  if (HAL_UART_Init(&huart1) != HAL_OK)
  {
    Error_Handler();
  }
  if (HAL_UARTEx_SetTxFifoThreshold(&huart1, UART_TXFIFO_THRESHOLD_1_8) != HAL_OK)
  {
    Error_Handler();
  }
  if (HAL_UARTEx_SetRxFifoThreshold(&huart1, UART_RXFIFO_THRESHOLD_1_8) != HAL_OK)
  {
    Error_Handler();
  }
  if (HAL_UARTEx_DisableFifoMode(&huart1) != HAL_OK)
  {
    Error_Handler();
  }

}

static void MX_BDMA_Init(void)
{

  /* DMA controller clock enable */
  __HAL_RCC_BDMA_CLK_ENABLE();

  /* DMA interrupt init */
  /* BDMA_Channel0_IRQn interrupt configuration */
  HAL_NVIC_SetPriority(BDMA_Channel0_IRQn, 0, 0);
  HAL_NVIC_EnableIRQ(BDMA_Channel0_IRQn);

}

static void MX_DMA_Init(void)
{

  /* DMA controller clock enable */
  __HAL_RCC_DMA1_CLK_ENABLE();

  /* DMA interrupt init */
  /* DMA1_Stream0_IRQn interrupt configuration */
  HAL_NVIC_SetPriority(DMA1_Stream0_IRQn, 0, 0);
  HAL_NVIC_EnableIRQ(DMA1_Stream0_IRQn);
  /* DMA1_Stream2_IRQn interrupt configuration */
  HAL_NVIC_SetPriority(DMA1_Stream2_IRQn, 0, 0);
  HAL_NVIC_EnableIRQ(DMA1_Stream2_IRQn);

}

static void MX_GPIO_Init(void)
{
  GPIO_InitTypeDef GPIO_InitStruct = {0};

  /* GPIO Ports Clock Enable */
  __HAL_RCC_GPIOE_CLK_ENABLE();
  __HAL_RCC_GPIOC_CLK_ENABLE();
  __HAL_RCC_GPIOF_CLK_ENABLE();
  __HAL_RCC_GPIOH_CLK_ENABLE();
  __HAL_RCC_GPIOA_CLK_ENABLE();
  __HAL_RCC_GPIOB_CLK_ENABLE();
  __HAL_RCC_GPIOG_CLK_ENABLE();
  __HAL_RCC_GPIOD_CLK_ENABLE();

  /*Configure GPIO pin Output Level */
  HAL_GPIO_WritePin(GPIOF, DISPLAY_BL_Pin|DISPLAY_DC_Pin|DISPLAY_RST_Pin|EDAC_XSMT_Pin, GPIO_PIN_SET);

  /*Configure GPIO pin Output Level */
  HAL_GPIO_WritePin(DISPLAY_CS_GPIO_Port, DISPLAY_CS_Pin, GPIO_PIN_SET);

  /*Configure GPIO pin Output Level */
  HAL_GPIO_WritePin(EDAC_SCK_GPIO_Port, EDAC_SCK_Pin, GPIO_PIN_RESET);

  /*Configure GPIO pin Output Level */
  HAL_GPIO_WritePin(EDAC_FMT_GPIO_Port, EDAC_FMT_Pin, GPIO_PIN_RESET);

  /*Configure GPIO pin Output Level */
  HAL_GPIO_WritePin(GPIOF, EDAC_FLT_Pin|EDAC_DEMP_Pin, GPIO_PIN_RESET);

  /*Configure GPIO pin Output Level */
  HAL_GPIO_WritePin(GPIOG, LED_1_Pin|LED_2_Pin, GPIO_PIN_RESET);

  /*Configure GPIO pins : PE2 PE3 PE4 PE5
                           PE6 PE8 PE10 PE11
                           PE12 PE13 PE14 PE15
                           PE0 PE1 */
  GPIO_InitStruct.Pin = GPIO_PIN_2|GPIO_PIN_3|GPIO_PIN_4|GPIO_PIN_5
                          |GPIO_PIN_6|GPIO_PIN_8|GPIO_PIN_10|GPIO_PIN_11
                          |GPIO_PIN_12|GPIO_PIN_13|GPIO_PIN_14|GPIO_PIN_15
                          |GPIO_PIN_0|GPIO_PIN_1;
  GPIO_InitStruct.Mode = GPIO_MODE_ANALOG;
  GPIO_InitStruct.Pull = GPIO_NOPULL;
  HAL_GPIO_Init(GPIOE, &GPIO_InitStruct);

  /*Configure GPIO pins : PC13 PC14 PC15 PC2
                           PC3 PC5 PC6 PC7
                           PC8 PC9 PC10 PC11
                           PC12 */
  GPIO_InitStruct.Pin = GPIO_PIN_13|GPIO_PIN_14|GPIO_PIN_15|GPIO_PIN_2
                          |GPIO_PIN_3|GPIO_PIN_5|GPIO_PIN_6|GPIO_PIN_7
                          |GPIO_PIN_8|GPIO_PIN_9|GPIO_PIN_10|GPIO_PIN_11
                          |GPIO_PIN_12;
  GPIO_InitStruct.Mode = GPIO_MODE_ANALOG;
  GPIO_InitStruct.Pull = GPIO_NOPULL;
  HAL_GPIO_Init(GPIOC, &GPIO_InitStruct);

  /*Configure GPIO pins : PF0 PF1 PF2 PF3
                           PF4 PF5 PF6 PF7
                           PF14 PF15 */
  GPIO_InitStruct.Pin = GPIO_PIN_0|GPIO_PIN_1|GPIO_PIN_2|GPIO_PIN_3
                          |GPIO_PIN_4|GPIO_PIN_5|GPIO_PIN_6|GPIO_PIN_7
                          |GPIO_PIN_14|GPIO_PIN_15;
  GPIO_InitStruct.Mode = GPIO_MODE_ANALOG;
  GPIO_InitStruct.Pull = GPIO_NOPULL;
  HAL_GPIO_Init(GPIOF, &GPIO_InitStruct);

  /*Configure GPIO pins : DISPLAY_BL_Pin EDAC_XSMT_Pin EDAC_FLT_Pin EDAC_DEMP_Pin */
  GPIO_InitStruct.Pin = DISPLAY_BL_Pin|EDAC_XSMT_Pin|EDAC_FLT_Pin|EDAC_DEMP_Pin;
  GPIO_InitStruct.Mode = GPIO_MODE_OUTPUT_PP;
  GPIO_InitStruct.Pull = GPIO_NOPULL;
  GPIO_InitStruct.Speed = GPIO_SPEED_FREQ_LOW;
  HAL_GPIO_Init(GPIOF, &GPIO_InitStruct);

  /*Configure GPIO pin : DISPLAY_DC_Pin */
  GPIO_InitStruct.Pin = DISPLAY_DC_Pin;
  GPIO_InitStruct.Mode = GPIO_MODE_OUTPUT_PP;
  GPIO_InitStruct.Pull = GPIO_NOPULL;
  GPIO_InitStruct.Speed = GPIO_SPEED_FREQ_VERY_HIGH;
  HAL_GPIO_Init(DISPLAY_DC_GPIO_Port, &GPIO_InitStruct);

  /*Configure GPIO pin : DISPLAY_RST_Pin */
  GPIO_InitStruct.Pin = DISPLAY_RST_Pin;
  GPIO_InitStruct.Mode = GPIO_MODE_OUTPUT_PP;
  GPIO_InitStruct.Pull = GPIO_PULLUP;
  GPIO_InitStruct.Speed = GPIO_SPEED_FREQ_LOW;
  HAL_GPIO_Init(DISPLAY_RST_GPIO_Port, &GPIO_InitStruct);

  /*Configure GPIO pin : DISPLAY_CS_Pin */
  GPIO_InitStruct.Pin = DISPLAY_CS_Pin;
  GPIO_InitStruct.Mode = GPIO_MODE_OUTPUT_PP;
  GPIO_InitStruct.Pull = GPIO_NOPULL;
  GPIO_InitStruct.Speed = GPIO_SPEED_FREQ_VERY_HIGH;
  HAL_GPIO_Init(DISPLAY_CS_GPIO_Port, &GPIO_InitStruct);

  /*Configure GPIO pins : PA1 PA2 PA8 PA9
                           PA15 */
  GPIO_InitStruct.Pin = GPIO_PIN_1|GPIO_PIN_2|GPIO_PIN_8|GPIO_PIN_9
                          |GPIO_PIN_15;
  GPIO_InitStruct.Mode = GPIO_MODE_ANALOG;
  GPIO_InitStruct.Pull = GPIO_NOPULL;
  HAL_GPIO_Init(GPIOA, &GPIO_InitStruct);

  /*Configure GPIO pin : EDAC_SCK_Pin */
  GPIO_InitStruct.Pin = EDAC_SCK_Pin;
  GPIO_InitStruct.Mode = GPIO_MODE_OUTPUT_PP;
  GPIO_InitStruct.Pull = GPIO_PULLDOWN;
  GPIO_InitStruct.Speed = GPIO_SPEED_FREQ_LOW;
  HAL_GPIO_Init(EDAC_SCK_GPIO_Port, &GPIO_InitStruct);

  /*Configure GPIO pins : PB1 PB11 PB12 PB4
                           PB5 PB7 PB8 PB9 */
  GPIO_InitStruct.Pin = GPIO_PIN_1|GPIO_PIN_11|GPIO_PIN_12|GPIO_PIN_4
                          |GPIO_PIN_5|GPIO_PIN_7|GPIO_PIN_8|GPIO_PIN_9;
  GPIO_InitStruct.Mode = GPIO_MODE_ANALOG;
  GPIO_InitStruct.Pull = GPIO_NOPULL;
  HAL_GPIO_Init(GPIOB, &GPIO_InitStruct);

  /*Configure GPIO pin : EDAC_FMT_Pin */
  GPIO_InitStruct.Pin = EDAC_FMT_Pin;
  GPIO_InitStruct.Mode = GPIO_MODE_OUTPUT_PP;
  GPIO_InitStruct.Pull = GPIO_NOPULL;
  GPIO_InitStruct.Speed = GPIO_SPEED_FREQ_LOW;
  HAL_GPIO_Init(EDAC_FMT_GPIO_Port, &GPIO_InitStruct);

  /*Configure GPIO pins : PG0 PG1 PG7 PG8
                           PG9 PG10 PG11 PG12
                           PG13 PG14 PG15 */
  GPIO_InitStruct.Pin = GPIO_PIN_0|GPIO_PIN_1|GPIO_PIN_7|GPIO_PIN_8
                          |GPIO_PIN_9|GPIO_PIN_10|GPIO_PIN_11|GPIO_PIN_12
                          |GPIO_PIN_13|GPIO_PIN_14|GPIO_PIN_15;
  GPIO_InitStruct.Mode = GPIO_MODE_ANALOG;
  GPIO_InitStruct.Pull = GPIO_NOPULL;
  HAL_GPIO_Init(GPIOG, &GPIO_InitStruct);

  /*Configure GPIO pins : ENC4_B_Pin ENC4_R_Pin ENC4_L_Pin */
  GPIO_InitStruct.Pin = ENC4_B_Pin|ENC4_R_Pin|ENC4_L_Pin;
  GPIO_InitStruct.Mode = GPIO_MODE_INPUT;
  GPIO_InitStruct.Pull = GPIO_PULLUP;
  HAL_GPIO_Init(GPIOB, &GPIO_InitStruct);

  /*Configure GPIO pin : ENC3_B_Pin */
  GPIO_InitStruct.Pin = ENC3_B_Pin;
  GPIO_InitStruct.Mode = GPIO_MODE_INPUT;
  GPIO_InitStruct.Pull = GPIO_NOPULL;
  HAL_GPIO_Init(ENC3_B_GPIO_Port, &GPIO_InitStruct);

  /*Configure GPIO pins : ENC3_R_Pin ENC3_L_Pin ENC2_B_Pin ENC2_R_Pin
                           ENC2_L_Pin */
  GPIO_InitStruct.Pin = ENC3_R_Pin|ENC3_L_Pin|ENC2_B_Pin|ENC2_R_Pin
                          |ENC2_L_Pin;
  GPIO_InitStruct.Mode = GPIO_MODE_INPUT;
  GPIO_InitStruct.Pull = GPIO_PULLUP;
  HAL_GPIO_Init(GPIOD, &GPIO_InitStruct);

  /*Configure GPIO pins : PD14 PD15 PD0 PD1
                           PD2 PD3 PD4 PD5
                           PD6 PD7 */
  GPIO_InitStruct.Pin = GPIO_PIN_14|GPIO_PIN_15|GPIO_PIN_0|GPIO_PIN_1
                          |GPIO_PIN_2|GPIO_PIN_3|GPIO_PIN_4|GPIO_PIN_5
                          |GPIO_PIN_6|GPIO_PIN_7;
  GPIO_InitStruct.Mode = GPIO_MODE_ANALOG;
  GPIO_InitStruct.Pull = GPIO_NOPULL;
  HAL_GPIO_Init(GPIOD, &GPIO_InitStruct);

  /*Configure GPIO pins : ENC1_B_Pin ENC1_R_Pin ENC1_L_Pin */
  GPIO_InitStruct.Pin = ENC1_B_Pin|ENC1_R_Pin|ENC1_L_Pin;
  GPIO_InitStruct.Mode = GPIO_MODE_INPUT;
  GPIO_InitStruct.Pull = GPIO_PULLUP;
  HAL_GPIO_Init(GPIOG, &GPIO_InitStruct);

  /*Configure GPIO pins : LED_1_Pin LED_2_Pin */
  GPIO_InitStruct.Pin = LED_1_Pin|LED_2_Pin;
  GPIO_InitStruct.Mode = GPIO_MODE_OUTPUT_PP;
  GPIO_InitStruct.Pull = GPIO_NOPULL;
  GPIO_InitStruct.Speed = GPIO_SPEED_FREQ_LOW;
  HAL_GPIO_Init(GPIOG, &GPIO_InitStruct);

}

 /* MPU Configuration */

void MPU_Config(void)
{
  MPU_Region_InitTypeDef MPU_InitStruct = {0};

  /* Disables the MPU */
  HAL_MPU_Disable();

  /** Initializes and configures the Region and the memory to be protected
  */
  MPU_InitStruct.Enable = MPU_REGION_ENABLE;
  MPU_InitStruct.Number = MPU_REGION_NUMBER0;
  MPU_InitStruct.BaseAddress = 0x0;
  MPU_InitStruct.Size = MPU_REGION_SIZE_4GB;
  MPU_InitStruct.SubRegionDisable = 0x87;
  MPU_InitStruct.TypeExtField = MPU_TEX_LEVEL0;
  MPU_InitStruct.AccessPermission = MPU_REGION_NO_ACCESS;
  MPU_InitStruct.DisableExec = MPU_INSTRUCTION_ACCESS_DISABLE;
  MPU_InitStruct.IsShareable = MPU_ACCESS_SHAREABLE;
  MPU_InitStruct.IsCacheable = MPU_ACCESS_NOT_CACHEABLE;
  MPU_InitStruct.IsBufferable = MPU_ACCESS_NOT_BUFFERABLE;

  HAL_MPU_ConfigRegion(&MPU_InitStruct);
  /* Enables the MPU */
  HAL_MPU_Enable(MPU_PRIVILEGED_DEFAULT);

}

void Error_Handler(void)
{
	__disable_irq();
	while (1) {
	}
}
